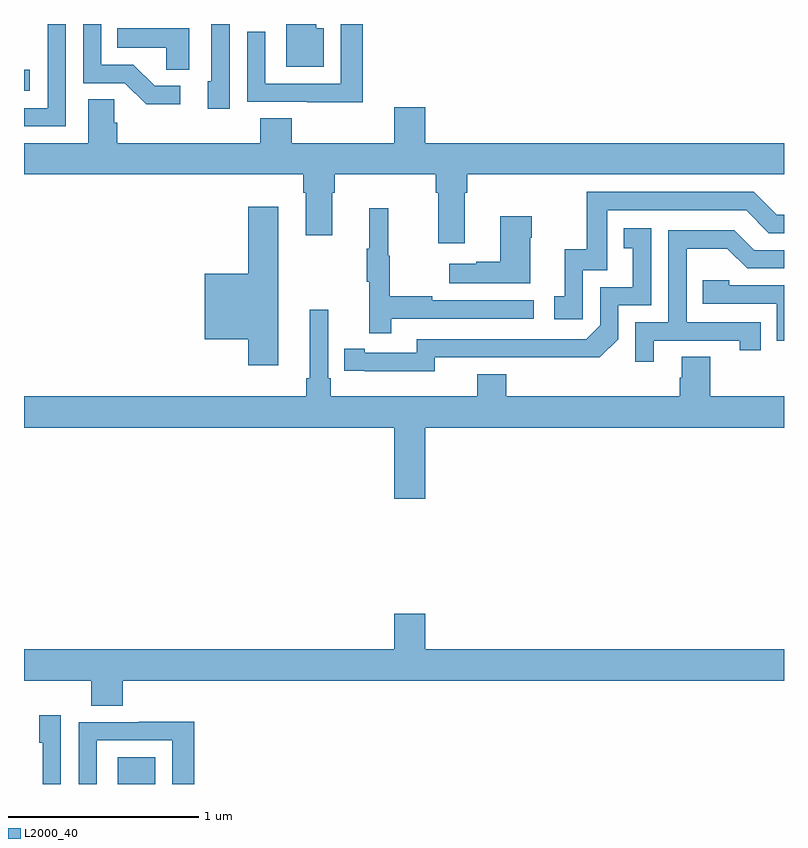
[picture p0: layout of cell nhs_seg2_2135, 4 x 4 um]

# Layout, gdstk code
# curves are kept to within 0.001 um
import gdstk
lib = gdstk.Library(unit=1e-6, precision=1e-09)
def R(c, l, rs):  # rectangles x0, y0, x1, y1
    for r in rs: c.add(gdstk.rectangle(r[:2], r[2:], *l))
def P(c, l, *ps):  # polygons
    for p in ps: c.add(gdstk.Polygon(p, *l))
L2000_40 = (2000, 40)

nhs_seg2_2135 = lib.new_cell('nhs_seg2_2135')
R(nhs_seg2_2135, L2000_40, [(223.493,605.8,223.69,605.941), (223,609.449,223.03,609.559)])
P(nhs_seg2_2135, L2000_40, [(224.783,609.8),(224.667,609.8),(224.667,609.486),(224.271,609.486),(224.271,609.76),(224.175,609.76),(224.175,609.39),(224.491,609.39),(224.491,609.389),(224.783,609.389)],
  [(224.578,609.778),(224.539,609.778),(224.539,609.8),(224.381,609.8),(224.381,609.575),(224.578,609.575)],
  [(223.822,609.474),(223.687,609.474),(223.576,609.585),(223.407,609.585),(223.407,609.8),(223.311,609.8),(223.311,609.489),(223.53,609.489),(223.643,609.377),(223.822,609.377)],
  [(223.221,609.8),(223.125,609.8),(223.125,609.357),(223,609.357),(223,609.261),(223.221,609.261)],
  [(224.082,609.8),(223.986,609.8),(223.986,609.498),(223.967,609.498),(223.967,609.354),(224.082,609.354)],
  [(223.87,609.778),(223.492,609.778),(223.492,609.674),(223.749,609.674),(223.749,609.559),(223.87,609.559)],
  [(225.319,608.912),(225.332,608.912),(225.332,609.008),(227,609.008),(227,609.172),(225.112,609.172),(225.112,609.361),(224.948,609.361),(224.948,609.172),(224.408,609.172),(224.408,609.305),(224.243,609.305),(224.243,609.172),(223.49,609.172),(223.49,609.281),(223.476,609.281),(223.476,609.404),(223.337,609.404),(223.337,609.172),(223,609.172),(223,609.008),(224.471,609.008),(224.471,608.912),(224.483,608.912),(224.483,608.688),(224.623,608.688),(224.623,608.912),(224.636,608.912),(224.636,609.008),(225.167,609.008),(225.167,608.912),(225.179,608.912),(225.179,608.646),(225.319,608.646)],
  [(225.942,608.505),(226.071,608.505),(226.071,608.82),(226.8,608.82),(226.92,608.7),(227,608.7),(227,608.796),(226.962,608.796),(226.842,608.916),(225.963,608.916),(225.963,608.614),(225.845,608.614),(225.845,608.367),(225.792,608.367),(225.792,608.247),(225.942,608.247)],
  [(224.338,608.839),(224.18,608.839),(224.18,608.485),(223.952,608.485),(223.952,608.141),(224.18,608.141),(224.18,608.004),(224.338,608.004)],
  [(224.933,608.25),(225.682,608.25),(225.682,608.346),(225.149,608.346),(225.149,608.366),(224.926,608.366),(224.926,608.58),(224.918,608.58),(224.918,608.83),(224.816,608.83),(224.816,608.617),(224.805,608.617),(224.805,608.443),(224.816,608.443),(224.816,608.172),(224.933,608.172)],
  [(225.664,608.675),(225.672,608.675),(225.672,608.788),(225.506,608.788),(225.506,608.549),(225.38,608.549),(225.38,608.539),(225.237,608.539),(225.237,608.435),(225.664,608.435)],
  [(225.162,608.046),(226.03,608.045),(226.128,608.142),(226.128,608.319),(226.302,608.319),(226.302,608.725),(226.156,608.725),(226.156,608.619),(226.205,608.619),(226.205,608.415),(226.032,608.415),(226.032,608.214),(225.96,608.142),(225.066,608.142),(225.066,608.07),(224.794,608.07),(224.794,608.09),(224.686,608.09),(224.686,607.974),(225.162,607.973)],
  [(226.315,608.133),(226.766,608.133),(226.766,608.082),(226.877,608.082),(226.877,608.229),(226.488,608.229),(226.488,608.618),(226.702,608.618),(226.806,608.514),(227,608.514),(227,608.61),(226.843,608.61),(226.738,608.715),(226.392,608.715),(226.392,608.229),(226.218,608.229),(226.218,608.022),(226.315,608.022)],
  [(227,608.424),(226.713,608.424),(226.713,608.451),(226.573,608.451),(226.573,608.328),(226.962,608.328),(226.962,608.133),(227,608.133)],
  [(224.504,608.296),(224.504,607.936),(224.485,607.936),(224.485,607.84),(223,607.84),(223,607.676),(224.948,607.676),(224.948,607.302),(225.112,607.302),(225.112,607.676),(227,607.676),(227,607.84),(226.611,607.84),(226.611,608.048),(226.463,608.048),(226.463,607.938),(226.451,607.938),(226.451,607.84),(225.539,607.84),(225.539,607.957),(225.386,607.957),(225.386,607.84),(224.615,607.84),(224.615,607.936),(224.601,607.936),(224.601,608.296)],
  [(223.52,606.344),(227,606.344),(227,606.508),(225.112,606.508),(225.112,606.697),(224.948,606.697),(224.948,606.508),(223,606.508),(223,606.344),(223.355,606.344),(223.355,606.211),(223.52,606.211)],
  [(223.194,606.163),(223.079,606.163),(223.079,606.018),(223.098,606.018),(223.098,605.8),(223.194,605.8)],
  [(223.383,606.03),(223.779,606.03),(223.779,605.8),(223.895,605.8),(223.895,606.128),(223.603,606.128),(223.603,606.126),(223.287,606.126),(223.287,605.8),(223.383,605.8)])

lib.write_gds('nhs_seg2_2135.gds')
